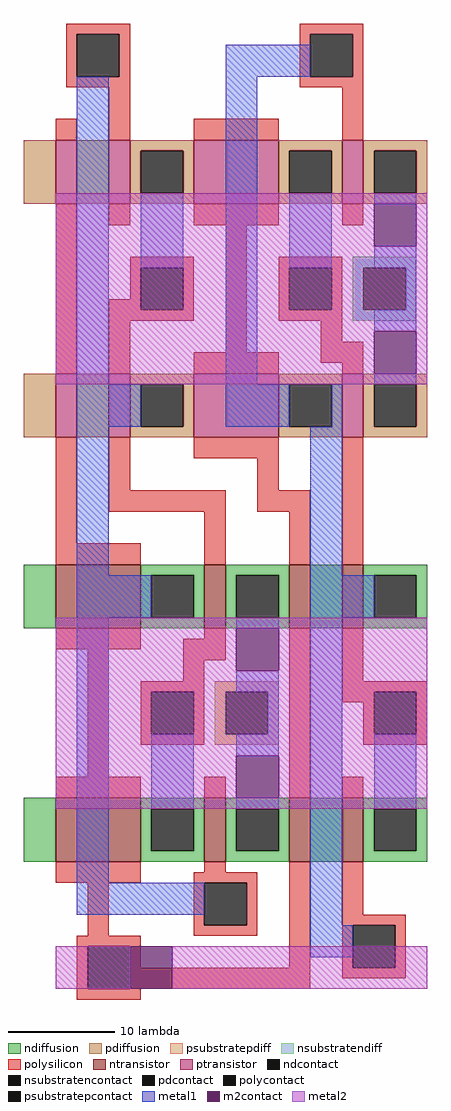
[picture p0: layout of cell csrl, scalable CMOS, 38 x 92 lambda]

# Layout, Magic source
magic
tech scmos
<< ntransistor >>
rect 0 35 8 41
rect 14 35 16 41
rect 22 35 24 41
rect 27 35 29 41
rect 0 13 8 19
rect 14 13 16 19
rect 22 13 24 19
rect 27 13 29 19
<< ptransistor >>
rect 0 75 2 81
rect 5 75 7 81
rect 13 75 21 81
rect 27 75 29 81
rect 0 53 2 59
rect 5 53 7 59
rect 13 53 21 59
rect 27 53 29 59
<< ndiffusion >>
rect -3 35 0 41
rect 8 40 14 41
rect 8 36 9 40
rect 13 36 14 40
rect 8 35 14 36
rect 16 40 22 41
rect 16 36 17 40
rect 21 36 22 40
rect 16 35 22 36
rect 24 35 27 41
rect 29 40 35 41
rect 29 36 30 40
rect 34 36 35 40
rect 29 35 35 36
rect -3 13 0 19
rect 8 18 14 19
rect 8 14 9 18
rect 13 14 14 18
rect 8 13 14 14
rect 16 18 22 19
rect 16 14 17 18
rect 21 14 22 18
rect 16 13 22 14
rect 24 13 27 19
rect 29 18 35 19
rect 29 14 30 18
rect 34 14 35 18
rect 29 13 35 14
<< pdiffusion >>
rect -3 75 0 81
rect 2 75 5 81
rect 7 80 13 81
rect 7 76 8 80
rect 12 76 13 80
rect 7 75 13 76
rect 21 80 27 81
rect 21 76 22 80
rect 26 76 27 80
rect 21 75 27 76
rect 29 80 35 81
rect 29 76 30 80
rect 34 76 35 80
rect 29 75 35 76
rect -3 53 0 59
rect 2 53 5 59
rect 7 58 13 59
rect 7 54 8 58
rect 12 54 13 58
rect 7 53 13 54
rect 21 58 27 59
rect 21 54 22 58
rect 26 54 27 58
rect 21 53 27 54
rect 29 58 35 59
rect 29 54 30 58
rect 34 54 35 58
rect 29 53 35 54
<< ndcontact >>
rect 9 36 13 40
rect 17 36 21 40
rect 30 36 34 40
rect 9 14 13 18
rect 17 14 21 18
rect 30 14 34 18
<< pdcontact >>
rect 8 76 12 80
rect 22 76 26 80
rect 30 76 34 80
rect 8 54 12 58
rect 22 54 26 58
rect 30 54 34 58
<< psubstratepdiff >>
rect 15 29 21 30
rect 15 25 16 29
rect 20 25 21 29
rect 15 24 21 25
<< nsubstratendiff >>
rect 28 69 34 70
rect 28 65 29 69
rect 33 65 34 69
rect 28 64 34 65
<< psubstratepcontact >>
rect 16 25 20 29
<< nsubstratencontact >>
rect 29 65 33 69
<< polysilicon >>
rect 1 91 7 92
rect 1 87 2 91
rect 6 87 7 91
rect 1 86 7 87
rect 23 91 29 92
rect 23 87 24 91
rect 28 87 29 91
rect 23 86 29 87
rect 0 81 2 83
rect 5 81 7 86
rect 13 81 21 83
rect 27 81 29 86
rect 0 59 2 75
rect 5 73 7 75
rect 13 73 21 75
rect 27 73 29 75
rect 7 69 13 70
rect 7 66 8 69
rect 5 65 8 66
rect 12 65 13 69
rect 5 64 13 65
rect 5 59 7 64
rect 16 61 18 73
rect 21 69 27 70
rect 21 65 22 69
rect 26 65 27 69
rect 21 64 27 65
rect 25 62 27 64
rect 13 59 21 61
rect 25 60 29 62
rect 27 59 29 60
rect 0 43 2 53
rect 5 48 7 53
rect 13 51 21 53
rect 19 48 21 51
rect 5 46 16 48
rect 19 46 24 48
rect 0 41 8 43
rect 14 41 16 46
rect 22 41 24 46
rect 27 41 29 53
rect 0 33 8 35
rect 14 34 16 35
rect 3 21 5 33
rect 12 32 16 34
rect 12 30 14 32
rect 8 29 14 30
rect 8 25 9 29
rect 13 25 14 29
rect 8 24 14 25
rect 0 19 8 21
rect 14 19 16 21
rect 22 19 24 35
rect 27 30 29 35
rect 27 29 35 30
rect 27 28 30 29
rect 29 25 30 28
rect 34 25 35 29
rect 29 24 35 25
rect 27 19 29 21
rect 0 11 8 13
rect 14 12 16 13
rect 13 11 19 12
rect 3 6 5 11
rect 13 7 14 11
rect 18 7 19 11
rect 13 6 19 7
rect 2 5 8 6
rect 2 1 3 5
rect 7 3 8 5
rect 22 3 24 13
rect 7 1 24 3
rect 27 8 29 13
rect 27 7 33 8
rect 27 3 28 7
rect 32 3 33 7
rect 27 2 33 3
rect 2 0 8 1
<< polycontact >>
rect 2 87 6 91
rect 24 87 28 91
rect 8 65 12 69
rect 22 65 26 69
rect 9 25 13 29
rect 30 25 34 29
rect 14 7 18 11
rect 3 1 7 5
rect 28 3 32 7
<< metal1 >>
rect 16 87 24 90
rect 2 58 5 87
rect 8 69 12 76
rect 16 58 19 87
rect 22 69 26 76
rect 30 75 34 76
rect 30 69 34 71
rect 33 65 34 69
rect 30 63 34 65
rect 30 58 34 59
rect 2 54 8 58
rect 16 54 22 58
rect 26 54 27 58
rect 2 40 5 54
rect 24 40 27 54
rect 2 36 9 40
rect 2 11 5 36
rect 17 35 21 36
rect 17 29 21 31
rect 20 25 21 29
rect 9 18 13 25
rect 17 23 21 25
rect 17 18 21 19
rect 24 36 30 40
rect 2 8 14 11
rect 24 7 27 36
rect 30 18 34 25
rect 24 4 28 7
<< m2contact >>
rect 30 71 34 75
rect 30 59 34 63
rect 17 31 21 35
rect 17 19 21 23
rect 7 1 11 5
<< metal2 >>
rect 0 75 35 76
rect 0 71 30 75
rect 34 71 35 75
rect 0 63 35 71
rect 0 59 30 63
rect 34 59 35 63
rect 0 58 35 59
rect 0 35 35 36
rect 0 31 17 35
rect 21 31 35 35
rect 0 23 35 31
rect 0 19 17 23
rect 21 19 35 23
rect 0 18 35 19
rect 0 1 7 5
rect 11 1 35 5
<< end >>
